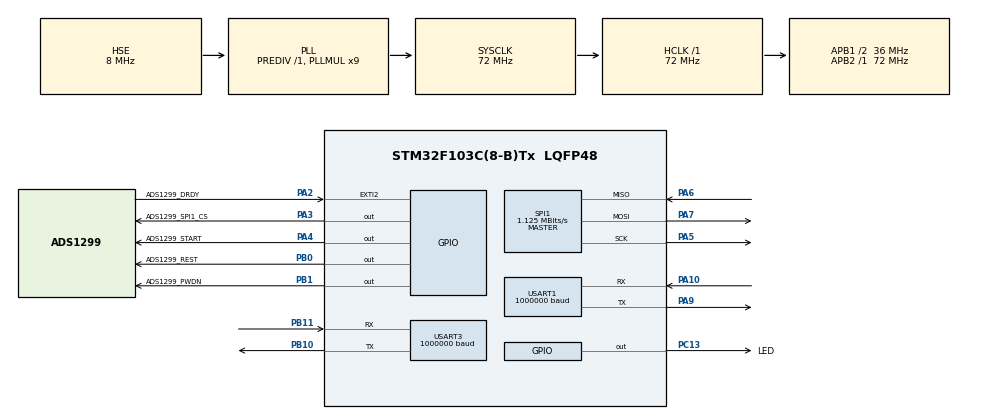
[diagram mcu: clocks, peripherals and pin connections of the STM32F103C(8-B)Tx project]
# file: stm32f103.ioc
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Dma.Request0=USART3_RX
Dma.Request1=USART3_TX
Dma.USART3_RX.0.Direction=DMA_PERIPH_TO_MEMORY
Dma.USART3_RX.0.Instance=DMA1_Channel3
Dma.USART3_RX.0.MemDataAlignment=DMA_MDATAALIGN_BYTE
Dma.USART3_RX.0.MemInc=DMA_MINC_ENABLE
Dma.USART3_RX.0.Mode=DMA_NORMAL
Dma.USART3_RX.0.PeriphDataAlignment=DMA_PDATAALIGN_BYTE
Dma.USART3_RX.0.PeriphInc=DMA_PINC_DISABLE
Dma.USART3_RX.0.Priority=DMA_PRIORITY_LOW
Dma.USART3_TX.1.Direction=DMA_MEMORY_TO_PERIPH
Dma.USART3_TX.1.Instance=DMA1_Channel2
Dma.USART3_TX.1.MemDataAlignment=DMA_MDATAALIGN_BYTE
Dma.USART3_TX.1.MemInc=DMA_MINC_ENABLE
Dma.USART3_TX.1.Mode=DMA_NORMAL
Dma.USART3_TX.1.PeriphDataAlignment=DMA_PDATAALIGN_BYTE
Dma.USART3_TX.1.PeriphInc=DMA_PINC_DISABLE
Dma.USART3_TX.1.Priority=DMA_PRIORITY_LOW
Mcu.Family=STM32F1
Mcu.Name=STM32F103C(8-B)Tx
Mcu.Package=LQFP48
NVIC.DMA1_Channel2_IRQn=true\:0\:0\:false\:false\:true\:false\:true\:true
NVIC.DMA1_Channel3_IRQn=true\:0\:0\:false\:false\:true\:false\:true\:true
NVIC.EXTI2_IRQn=true\:0\:0\:false\:false\:true\:true\:true\:true
NVIC.PriorityGroup=NVIC_PRIORITYGROUP_4
NVIC.USART1_IRQn=true\:0\:0\:false\:false\:true\:true\:true\:true
NVIC.USART3_IRQn=true\:3\:0\:true\:false\:true\:true\:true\:true
PA10.Mode=Asynchronous
PA10.Signal=USART1_RX
PA13.Mode=Serial_Wire
PA13.Signal=SYS_JTMS-SWDIO
PA14.Mode=Serial_Wire
PA14.Signal=SYS_JTCK-SWCLK
PA2.GPIO_Label=ADS1299_DRDY
PA2.GPIO_ModeDefaultEXTI=GPIO_MODE_IT_FALLING
PA2.Signal=GPXTI2
PA3.GPIO_Label=ADS1299_SPI1_CS
PA3.Signal=GPIO_Output
PA4.GPIO_Label=ADS1299_START
PA4.GPIO_Speed=GPIO_SPEED_FREQ_HIGH
PA4.Signal=GPIO_Output
PA5.Mode=Full_Duplex_Master
PA5.Signal=SPI1_SCK
PA6.Mode=Full_Duplex_Master
PA6.Signal=SPI1_MISO
PA7.Mode=Full_Duplex_Master
PA7.Signal=SPI1_MOSI
PA9.Mode=Asynchronous
PA9.Signal=USART1_TX
PB0.GPIO_Label=ADS1299_REST
PB0.Signal=GPIO_Output
PB1.GPIO_Label=ADS1299_PWDN
PB1.Signal=GPIO_Output
PB10.Mode=Asynchronous
PB10.Signal=USART3_TX
PB11.Mode=Asynchronous
PB11.Signal=USART3_RX
PC13-TAMPER-RTC.GPIO_Label=LED
PC13-TAMPER-RTC.Signal=GPIO_Output
PD0-OSC_IN.Mode=HSE-External-Oscillator
PD0-OSC_IN.Signal=RCC_OSC_IN
PD1-OSC_OUT.Mode=HSE-External-Oscillator
PD1-OSC_OUT.Signal=RCC_OSC_OUT
ProjectManager.HeapSize=0x200
ProjectManager.StackSize=0x400
ProjectManager.TargetToolchain=MDK-ARM V5.27
RCC.AHBFreq_Value=72000000
RCC.APB1CLKDivider=RCC_HCLK_DIV2
RCC.APB1Freq_Value=36000000
RCC.APB1TimFreq_Value=72000000
RCC.APB2Freq_Value=72000000
RCC.APB2TimFreq_Value=72000000
RCC.HCLKFreq_Value=72000000
RCC.PLLMUL=RCC_PLL_MUL9
RCC.PLLSourceVirtual=RCC_PLLSOURCE_HSE
RCC.SYSCLKFreq_VALUE=72000000
RCC.SYSCLKSource=RCC_SYSCLKSOURCE_PLLCLK
RCC.USBFreq_Value=72000000
SPI1.BaudRatePrescaler=SPI_BAUDRATEPRESCALER_64
SPI1.CLKPhase=SPI_PHASE_2EDGE
SPI1.CalculateBaudRate=1.125 MBits/s
SPI1.Direction=SPI_DIRECTION_2LINES
SPI1.Mode=SPI_MODE_MASTER
SPI1.VirtualType=VM_MASTER
USART1.BaudRate=1000000
USART1.VirtualMode=VM_ASYNC
USART3.BaudRate=1000000
USART3.VirtualMode=VM_ASYNC
board=custom

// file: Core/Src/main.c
/* USER CODE BEGIN Header */
/**
  ******************************************************************************
  * @file           : main.c
  * @brief          : Main program body
  ******************************************************************************
  * @attention
  *
  * Copyright (c) 2025 STMicroelectronics.
  * All rights reserved.
  *
  * This software is licensed under terms that can be found in the LICENSE file
  * in the root directory of this software component.
  * If no LICENSE file comes with this software, it is provided AS-IS.
  *
  ******************************************************************************
  */
/* USER CODE END Header */
#include "main.h"
#include "dma.h"
#include "spi.h"
#include "usart.h"
#include "gpio.h"

/* USER CODE BEGIN Includes */
#include "delay.h"
#include "ADS1299.h"
#include <string.h>
#include "cmd_parser.h"
#include "circular_buffer.h"
/* USER CODE END Includes */

void SystemClock_Config(void);

/* USER CODE BEGIN 0 */

// 每个通道取6个,共8个通道，每个采样点占4个字节，6*8*4 = 192个字节
#define READ_BUFFER_LEN  192

CircularBuffer ADS1299_circula_buffer;
uint8_t uart_tx_buffer[400];
uint8_t read_buffer[READ_BUFFER_LEN];

extern uint8_t g_sample_status;

/* USER CODE END 0 */

int main(void)
{

  /* MCU Configuration--------------------------------------------------------*/

  /* Reset of all peripherals, Initializes the Flash interface and the Systick. */
  HAL_Init();

  /* Configure the system clock */
  SystemClock_Config();

  /* USER CODE BEGIN SysInit */
  delay_init(72);
  /* USER CODE END SysInit */

  /* Initialize all configured peripherals */
  MX_GPIO_Init();
  MX_DMA_Init();
  MX_SPI1_Init();
  MX_USART1_UART_Init();
  MX_USART3_UART_Init();
  /* USER CODE BEGIN 2 */

	// ADS1299初始化
	ADS1299_Init();

  // 初始化环形缓存区
  if (!circular_buffer_init(&ADS1299_circula_buffer, 400)) {
       printf("circular_buffer_init fail! \n");
       return -1;
  }

	// 判断ADS1299 ID是否正确
	extern uint8_t ADS1299_REG[24];
	if(ADS1299_REG[0] == 0x1E)
	{
		 LED_L; // ADS1299 Init Succes
	}else
	{
		 LED_H; // ADS1299 Init Fail
	}

  /* USER CODE END 2 */

  /* Infinite loop */
  /* USER CODE BEGIN WHILE */

	//uint8_t count = 0;
  while (1)
  {
    /* USER CODE END WHILE */

    /* USER CODE BEGIN 3 */

		// 判断指令是否接收完成
		if(g_cmd_rx_done == 1)
		{
			 g_cmd_rx_done = 0;

			 // 指令解析
			 order_data_parse(g_cmd_rx_buffer,g_cmd_rx_len);

			 memset(g_cmd_rx_buffer,0,g_cmd_rx_len);
			 g_cmd_rx_len = 0;

			 // 开启串口接收数据
			 HAL_UART_Receive_DMA(&huart3,g_cmd_rx_buffer,CMD_RX_BUFFER_SIZE);
		}

		if(g_sample_status == 1)
		{

				if(ADS1299_circula_buffer.dataCount > READ_BUFFER_LEN)
				{
					 // 从环形缓存区提取
					 circular_buffer_read(&ADS1299_circula_buffer,read_buffer,READ_BUFFER_LEN);

					 // 数据帧打包
					 uint8_t tx_len = ack_data_pack(ADRR_SAMPLE_CONTROL,read_buffer,READ_BUFFER_LEN,uart_tx_buffer);

					 // 串口发送数据包
					 HAL_UART_Transmit(&huart3, uart_tx_buffer, tx_len, 0xffff);
				}
		}
  }
  /* USER CODE END 3 */
}

void SystemClock_Config(void)
{
  RCC_OscInitTypeDef RCC_OscInitStruct = {0};
  RCC_ClkInitTypeDef RCC_ClkInitStruct = {0};

  /** Initializes the RCC Oscillators according to the specified parameters
  * in the RCC_OscInitTypeDef structure.
  */
  RCC_OscInitStruct.OscillatorType = RCC_OSCILLATORTYPE_HSE;
  RCC_OscInitStruct.HSEState = RCC_HSE_ON;
  RCC_OscInitStruct.HSEPredivValue = RCC_HSE_PREDIV_DIV1;
  RCC_OscInitStruct.HSIState = RCC_HSI_ON;
  RCC_OscInitStruct.PLL.PLLState = RCC_PLL_ON;
  RCC_OscInitStruct.PLL.PLLSource = RCC_PLLSOURCE_HSE;
  RCC_OscInitStruct.PLL.PLLMUL = RCC_PLL_MUL9;
  if (HAL_RCC_OscConfig(&RCC_OscInitStruct) != HAL_OK)
  {
    Error_Handler();
  }

  /** Initializes the CPU, AHB and APB buses clocks
  */
  RCC_ClkInitStruct.ClockType = RCC_CLOCKTYPE_HCLK|RCC_CLOCKTYPE_SYSCLK
                              |RCC_CLOCKTYPE_PCLK1|RCC_CLOCKTYPE_PCLK2;
  RCC_ClkInitStruct.SYSCLKSource = RCC_SYSCLKSOURCE_PLLCLK;
  RCC_ClkInitStruct.AHBCLKDivider = RCC_SYSCLK_DIV1;
  RCC_ClkInitStruct.APB1CLKDivider = RCC_HCLK_DIV2;
  RCC_ClkInitStruct.APB2CLKDivider = RCC_HCLK_DIV1;

  if (HAL_RCC_ClockConfig(&RCC_ClkInitStruct, FLASH_LATENCY_2) != HAL_OK)
  {
    Error_Handler();
  }
}

void Error_Handler(void)
{
  __disable_irq();
  while (1)
  {
  }
}
